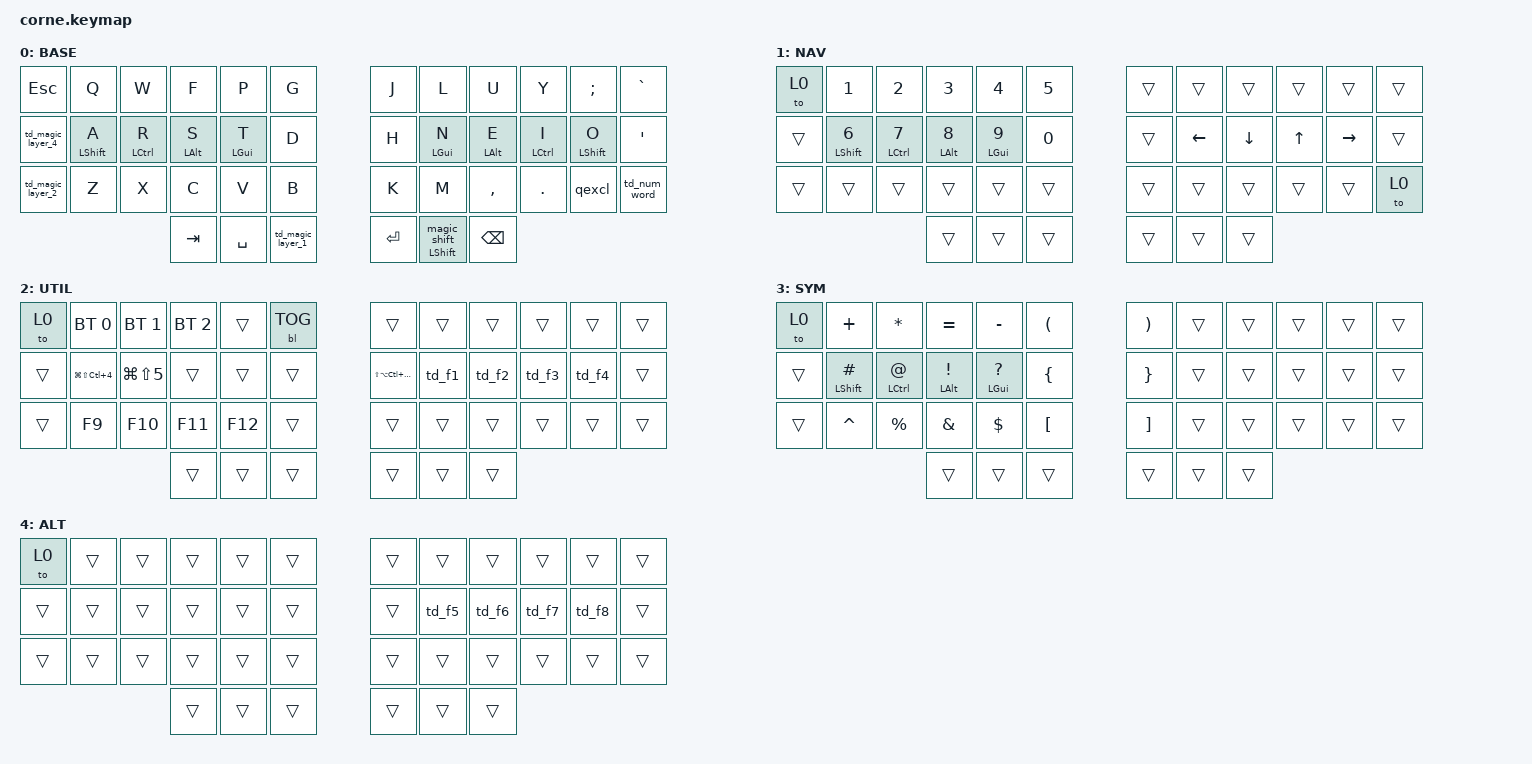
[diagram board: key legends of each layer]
/*
 * Copyright (c) 2020 The ZMK Contributors
 *
 * SPDX-License-Identifier: MIT
 */

#include <behaviors/num_word.dtsi>
#include <behaviors.dtsi>
#include <dt-bindings/zmk/backlight.h>
#include <dt-bindings/zmk/bt.h>
#include <dt-bindings/zmk/keys.h>

/ {
    behaviors {
        hml: homerow_mods_left {
            compatible = "zmk,behavior-hold-tap";
            label = "HOMEROW_MODS_LEFT";
            #binding-cells = <2>;
            tapping-term-ms = <280>;
            quick-tap-ms = <175>;
            flavor = "balanced";
            bindings = <&kp>, <&kp>;

            require-prior-idle-ms = <150>;
            hold-trigger-on-release;
            hold-trigger-key-positions = <6 7 8 9 10 11 18 19 20 21 22 23 30 31 32 33 34 35 39 40 41 36 37 38>;
        };

        hmr: homerow_mods_right {
            compatible = "zmk,behavior-hold-tap";
            label = "HOMEROW_MODS_RIGHT";
            #binding-cells = <2>;
            tapping-term-ms = <280>;
            quick-tap-ms = <175>;
            flavor = "balanced";
            bindings = <&kp>, <&kp>;

            require-prior-idle-ms = <150>;
            hold-trigger-on-release;
            hold-trigger-key-positions = <0 1 2 3 4 5 12 13 14 15 16 17 24 25 26 27 28 29 36 37 38 39 40 41>;
        };

        ad_afn: adaptive_arrow_fn {
            compatible = "zmk,behavior-antecedent-morph";
            label = "ADAPTIVE_ARROW_FN";
            #binding-cells = <0>;
            defaults = <&kp EQUAL>;
            bindings = <&arrow_fn>;
            antecedents = <SPACE>;
            max-delay-ms = <250>;
        };

        ltq: ltq {
            compatible = "zmk,behavior-hold-tap";
            label = "LTQ";
            bindings = <&mo>, <&kp>;

            #binding-cells = <2>;
            tapping-term-ms = <600>;
            global-quick-tap;
            quick-tap-ms = <400>;
        };

        td_arrow_fn: td_arrow_fn {
            compatible = "zmk,behavior-tap-dance";
            label = "TD_ARROW_FN";
            #binding-cells = <0>;
            tapping-term-ms = <350>;
            bindings = <&kp GREATER_THAN>, <&arrow_fn>;
        };

        td_f1: td_f1 {
            compatible = "zmk,behavior-tap-dance";
            label = "TD_F1";
            #binding-cells = <0>;
            tapping-term-ms = <350>;
            bindings = <&kp F1>, <&kp LA(F1)>, <&kp LG(F1)>;
        };

        td_f2: td_f2 {
            compatible = "zmk,behavior-tap-dance";
            label = "TD_F2";
            #binding-cells = <0>;
            tapping-term-ms = <350>;
            bindings = <&kp F2>, <&kp LA(F2)>, <&kp LG(F2)>;
        };

        td_f3: td_f3 {
            compatible = "zmk,behavior-tap-dance";
            label = "TD_F3";
            #binding-cells = <0>;
            tapping-term-ms = <350>;
            bindings = <&kp F3>, <&kp LA(F3)>, <&kp LG(F3)>;
        };

        td_f4: td_f4 {
            compatible = "zmk,behavior-tap-dance";
            label = "TD_F4";
            #binding-cells = <0>;
            tapping-term-ms = <350>;
            bindings = <&kp F4>, <&kp LA(F4)>, <&kp LG(F4)>;
        };

        td_f5: td_f5 {
            compatible = "zmk,behavior-tap-dance";
            label = "TD_F5";
            #binding-cells = <0>;
            tapping-term-ms = <350>;
            bindings = <&kp F5>, <&kp LA(F5)>, <&kp LG(F5)>;
        };

        td_f6: td_f6 {
            compatible = "zmk,behavior-tap-dance";
            label = "TD_F6";
            #binding-cells = <0>;
            tapping-term-ms = <350>;
            bindings = <&kp F6>, <&kp LA(F6)>, <&kp LG(F6)>;
        };

        td_f7: td_f7 {
            compatible = "zmk,behavior-tap-dance";
            label = "TD_F7";
            #binding-cells = <0>;
            tapping-term-ms = <350>;
            bindings = <&kp F7>, <&kp LA(F7)>, <&kp LG(F7)>;
        };

        td_f8: td_f8 {
            compatible = "zmk,behavior-tap-dance";
            label = "TD_F8";
            #binding-cells = <0>;
            tapping-term-ms = <350>;
            bindings = <&kp F8>, <&kp LA(F8)>, <&kp LG(F8)>;
        };

        magic_shift: magic_shift {
            compatible = "zmk,behavior-tap-dance";
            label = "MAGIC_SHIFT";
            #binding-cells = <0>;
            tapping-term-ms = <200>;
            bindings = <&sk LEFT_SHIFT>, <&caps_word>;
        };

        td_num_word: td_num_word {
            compatible = "zmk,behavior-tap-dance";
            label = "TD_NUM_WORD";
            #binding-cells = <0>;
            tapping-term-ms = <200>;
            bindings = <&num_word 1>, <&tog 1>;
        };

        magic_layer: magic_layer {
            compatible = "zmk,behavior-hold-tap";
            label = "MAGIC_LAYER";
            bindings = <&mo>, <&sl>;

            #binding-cells = <2>;
            tapping-term-ms = <200>;
            quick-tap-ms = <175>;
            require-prior-idle-ms = <150>;
            flavor = "balanced";
            hold-trigger-on-release;
        };

        td_magic_layer_1: td_magic_layer_1 {
            compatible = "zmk,behavior-tap-dance";
            label = "TD_MAGIC_LAYER_1";
            #binding-cells = <0>;
            tapping-term-ms = <200>;
            bindings = <&nav_word 1>, <&tog 1>;
        };

        td_magic_layer_2: td_magic_layer_2 {
            compatible = "zmk,behavior-tap-dance";
            label = "TD_MAGIC_LAYER_2";
            #binding-cells = <0>;
            bindings = <&magic_layer 2 2>, <&tog 2>;

            tapping-term-ms = <200>;
        };

        slash_backslash: slash_backslash {
            compatible = "zmk,behavior-tap-dance";
            label = "SLASH_BACKSLASH";
            #binding-cells = <0>;
            tapping-term-ms = <200>;
            bindings = <&kp SLASH>, <&kp BACKSLASH>;
        };

        td_magic_layer_3: td_magic_layer_3 {
            compatible = "zmk,behavior-tap-dance";
            label = "TD_MAGIC_LAYER_3";
            #binding-cells = <0>;
            bindings = <&magic_layer 3 3>, <&tog 3>;

            tapping-term-ms = <200>;
        };

        td_magic_layer_4: td_magic_layer_4 {
            compatible = "zmk,behavior-tap-dance";
            label = "TD_MAGIC_LAYER_4";
            #binding-cells = <0>;
            bindings = <&magic_layer 4 4>, <&tog 4>;

            tapping-term-ms = <200>;
        };

        b_magic_shift: b_magic_shift {
            compatible = "zmk,behavior-hold-tap";
            label = "B_MAGIC_SHIFT";
            bindings = <&kp>, <&magic_shift>;

            #binding-cells = <2>;
            flavor = "balanced";
            tapping-term-ms = <200>;
            quick-tap-ms = <175>;
        };

        qexcl: qexcl {
            compatible = "zmk,behavior-mod-morph";
            label = "QEXCL";
            bindings = <&kp QUESTION>, <&kp EXCL>;

            #binding-cells = <0>;
            mods = <(MOD_LSFT)>;
        };

        lpar: lpar {
            compatible = "zmk,behavior-mod-morph";
            label = "LPAR";
            bindings = <&kp LEFT_PARENTHESIS>, <&kp LESS_THAN>;

            #binding-cells = <0>;
            mods = <(MOD_LSFT)>;
        };

        rpar: rpar {
            compatible = "zmk,behavior-mod-morph";
            label = "RPAR";
            bindings = <&kp RIGHT_PARENTHESIS>, <&kp GREATER_THAN>;

            #binding-cells = <0>;
            mods = <(MOD_LSFT)>;
        };

        nav_word: nav_word {
            compatible = "zmk,behavior-auto-layer";
            #binding-cells = <1>;
            continue-list = <LEFT DOWN UP RIGHT PG_DN PG_UP>;
            ignore-modifiers;
        };
    };

    combos {
        compatible = "zmk,combos";

        at {
            bindings = <&kp AT>;
            key-positions = <2 14>;
        };

        hash {
            bindings = <&kp HASH>;
            key-positions = <3 15>;
        };

        dollar {
            bindings = <&kp DOLLAR>;
            key-positions = <4 16>;
        };

        percent {
            bindings = <&kp PERCENT>;
            key-positions = <5 17>;
        };

        grave {
            bindings = <&kp GRAVE>;
            key-positions = <26 14>;
        };

        backslash {
            bindings = <&kp BACKSLASH>;
            key-positions = <15 27>;
        };

        equal {
            bindings = <&ad_afn>;
            key-positions = <16 28>;
        };

        tilde {
            bindings = <&kp TILDE>;
            key-positions = <17 29>;
        };

        caret {
            bindings = <&kp CARET>;
            key-positions = <18 6>;
        };

        plus {
            bindings = <&kp PLUS>;
            key-positions = <7 19>;
        };

        asterisk {
            bindings = <&kp ASTERISK>;
            key-positions = <8 20>;
        };

        ampersand {
            bindings = <&kp AMPS>;
            key-positions = <9 21>;
        };

        underscore {
            bindings = <&kp UNDER>;
            key-positions = <18 30>;
        };

        minus {
            bindings = <&kp MINUS>;
            key-positions = <31 19>;
        };

        slash {
            bindings = <&kp SLASH>;
            key-positions = <20 32>;
        };

        pipe {
            bindings = <&kp PIPE>;
            key-positions = <21 33>;
        };

        lpar {
            bindings = <&lpar>;
            key-positions = <19 20>;
        };

        rpar {
            bindings = <&rpar>;
            key-positions = <21 20>;
        };

        lbkt {
            bindings = <&kp LEFT_BRACKET>;
            key-positions = <31 32>;
        };

        rbkt {
            bindings = <&kp RIGHT_BRACKET>;
            key-positions = <33 32>;
        };
    };

    macros {
        arrow_fn: arrow_fn {
            compatible = "zmk,behavior-macro";
            #binding-cells = <0>;
            bindings = <&kp EQUAL &kp GT>;
            label = "ARROW_FN";
        };
    };

    keymap {
        compatible = "zmk,keymap";

        default_layer {
            display-name = "BASE";
            bindings = <
&kp ESCAPE         &kp Q              &kp W         &kp F            &kp P            &kp G              &kp J      &kp L                        &kp U            &kp Y         &kp SEMI           &kp GRAVE
&td_magic_layer_4  &hml LEFT_SHIFT A  &hml LCTRL R  &hml LEFT_ALT S  &hml LEFT_GUI T  &kp D              &kp H      &hmr LEFT_GUI N              &hmr LEFT_ALT E  &hmr LCTRL I  &hmr LEFT_SHIFT O  &kp SINGLE_QUOTE
&td_magic_layer_2  &kp Z              &kp X         &kp C            &kp V            &kp B              &kp K      &kp M                        &kp COMMA        &kp DOT       &qexcl             &td_num_word
                                                    &kp TAB          &kp SPACE        &td_magic_layer_1  &kp ENTER  &b_magic_shift LEFT_SHIFT 0  &kp BACKSPACE
            >;
        };

        num_nav {
            display-name = "NAV";
            bindings = <
&to 0   &kp N1                    &kp N2         &kp N3            &kp N4            &kp N5  &trans  &trans    &trans    &trans  &trans     &trans
&trans  &hml LEFT_SHIFT NUMBER_6  &hml LCTRL N7  &hml LEFT_ALT N8  &hml LEFT_GUI N9  &kp N0  &trans  &kp LEFT  &kp DOWN  &kp UP  &kp RIGHT  &trans
&trans  &trans                    &trans         &trans            &trans            &trans  &trans  &trans    &trans    &trans  &trans     &to 0
                                                 &trans            &trans            &trans  &trans  &trans    &trans
            >;
        };

        utils_layer {
            display-name = "UTIL";
            bindings = <
&to 0   &bt BT_SEL 0              &bt BT_SEL 1    &bt BT_SEL 2  &trans   &bl BL_TOG  &trans                  &trans  &trans  &trans  &trans  &trans
&trans  &kp LG(LS(LC(NUMBER_4)))  &kp LG(LS(N5))  &trans        &trans   &trans      &kp LS(LA(LC(LG(F9))))  &td_f1  &td_f2  &td_f3  &td_f4  &trans
&trans  &kp F9                    &kp F10         &kp F11       &kp F12  &trans      &trans                  &trans  &trans  &trans  &trans  &trans
                                                  &trans        &trans   &trans      &trans                  &trans  &trans
            >;
        };

        sym {
            display-name = "SYM";
            bindings = <
&to 0   &kp PLUS              &kp ASTRK      &kp EQUAL           &kp MINUS               &kp LEFT_PARENTHESIS  &kp RIGHT_PARENTHESIS  &trans  &trans  &trans  &trans  &trans
&trans  &hml LEFT_SHIFT HASH  &hml LCTRL AT  &hml LEFT_ALT EXCL  &hml LEFT_GUI QUESTION  &kp LEFT_BRACE        &kp RIGHT_BRACE        &trans  &trans  &trans  &trans  &trans
&trans  &kp CARET             &kp PERCENT    &kp AMPS            &kp DOLLAR              &kp LEFT_BRACKET      &kp RIGHT_BRACKET      &trans  &trans  &trans  &trans  &trans
                                             &trans              &trans                  &trans                &trans                 &trans  &trans
            >;
        };

        alt {
            bindings = <
&to 0   &trans  &trans  &trans  &trans  &trans  &trans  &trans  &trans  &trans  &trans  &trans
&trans  &trans  &trans  &trans  &trans  &trans  &trans  &td_f5  &td_f6  &td_f7  &td_f8  &trans
&trans  &trans  &trans  &trans  &trans  &trans  &trans  &trans  &trans  &trans  &trans  &trans
                        &trans  &trans  &trans  &trans  &trans  &trans
            >;

            label = "ALT";
        };
    };
};
